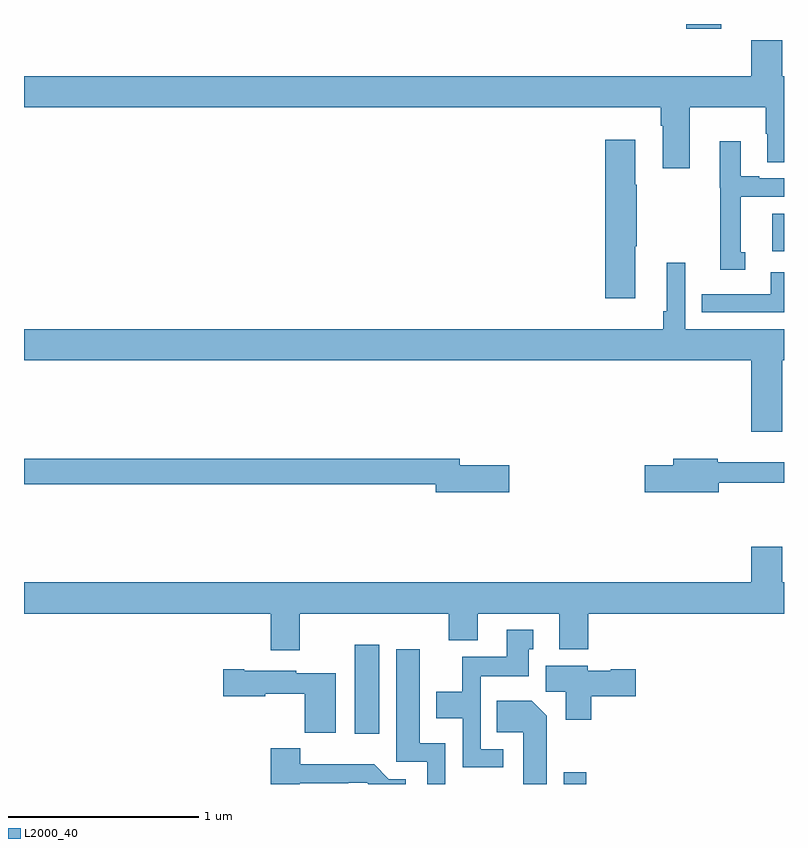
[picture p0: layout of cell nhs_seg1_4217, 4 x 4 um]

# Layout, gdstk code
import gdstk
lib = gdstk.Library(unit=1e-6, precision=1e-09)
def R(c, l, rs):  # rectangles x0, y0, x1, y1
    for r in rs: c.add(gdstk.rectangle(r[:2], r[2:], *l))
def P(c, l, *ps):  # polygons
    for p in ps: c.add(gdstk.Polygon(p, *l))
L2000_40 = (2000, 40)

nhs_seg1_4217 = lib.new_cell('nhs_seg1_4217')
R(nhs_seg1_4217, L2000_40, [(343.842,520.199,343.958,520.261), (342.74,520.464,342.871,520.933), (344.939,523.004,345,523.201), (344.486,524.175,344.669,524.199)])
P(nhs_seg1_4217, L2000_40, [(344.503,523.76),(344.905,523.76),(344.905,523.621),(344.912,523.621),(344.912,523.471),(345,523.471),(345,523.924),(344.992,523.924),(344.992,524.113),(344.828,524.113),(344.828,523.924),(341,523.924),(341,523.76),(344.351,523.76),(344.351,523.664),(344.363,523.664),(344.363,523.44),(344.503,523.44)],
  [(344.218,523.03),(344.226,523.03),(344.226,523.352),(344.218,523.352),(344.218,523.591),(344.06,523.591),(344.06,522.756),(344.218,522.756)],
  [(344.797,522.999),(344.773,522.999),(344.773,523.29),(345,523.29),(345,523.386),(344.869,523.386),(344.869,523.399),(344.773,523.399),(344.773,523.582),(344.663,523.582),(344.663,523.337),(344.664,523.337),(344.664,522.905),(344.797,522.905)],
  [(344.992,522.428),(345,522.428),(345,522.592),(344.481,522.592),(344.481,522.943),(344.384,522.943),(344.384,522.688),(344.365,522.688),(344.365,522.592),(341,522.592),(341,522.428),(344.828,522.428),(344.828,522.054),(344.992,522.054)],
  [(345,522.892),(344.93,522.892),(344.93,522.777),(344.566,522.777),(344.566,522.681),(345,522.681)],
  [(343.555,521.876),(343.294,521.876),(343.294,521.912),(341,521.912),(341,521.776),(343.166,521.776),(343.166,521.734),(343.555,521.734)],
  [(344.656,521.784),(345,521.784),(345,521.893),(344.652,521.893),(344.652,521.912),(344.417,521.912),(344.417,521.876),(344.268,521.876),(344.268,521.734),(344.656,521.734)],
  [(341,521.096),(342.299,521.096),(342.299,520.902),(342.451,520.902),(342.451,521.096),(343.235,521.096),(343.235,520.955),(343.387,520.955),(343.387,521.096),(343.817,521.096),(343.817,520.907),(343.97,520.907),(343.97,521.096),(345,521.096),(345,521.26),(344.992,521.26),(344.992,521.449),(344.828,521.449),(344.828,521.26),(341,521.26)],
  [(343.522,520.383),(343.404,520.383),(343.404,520.766),(343.657,520.766),(343.657,520.908),(343.681,520.908),(343.681,521.011),(343.541,521.011),(343.541,520.87),(343.306,520.87),(343.306,520.684),(343.169,520.684),(343.169,520.544),(343.308,520.544),(343.308,520.287),(343.522,520.287)],
  [(343.218,520.414),(343.084,520.414),(343.084,520.909),(342.959,520.909),(342.959,520.317),(343.122,520.317),(343.122,520.199),(343.218,520.199)],
  [(343.985,520.661),(344.221,520.661),(344.221,520.803),(344.088,520.803),(344.088,520.795),(343.968,520.795),(343.968,520.822),(343.745,520.822),(343.745,520.684),(343.85,520.684),(343.85,520.536),(343.985,520.536)],
  [(342.64,520.783),(342.432,520.783),(342.432,520.795),(342.16,520.795),(342.16,520.803),(342.048,520.803),(342.048,520.661),(342.27,520.661),(342.27,520.673),(342.478,520.673),(342.478,520.469),(342.64,520.469)],
  [(343.75,520.558),(343.672,520.636),(343.489,520.636),(343.489,520.472),(343.628,520.472),(343.628,520.199),(343.75,520.199)],
  [(342.451,520.203),(342.707,520.203),(342.707,520.206),(342.806,520.206),(342.813,520.199),(343.009,520.199),(343.009,520.224),(342.921,520.224),(342.843,520.303),(342.454,520.303),(342.454,520.387),(342.299,520.387),(342.299,520.199),(342.451,520.199)])

lib.write_gds('nhs_seg1_4217.gds')
